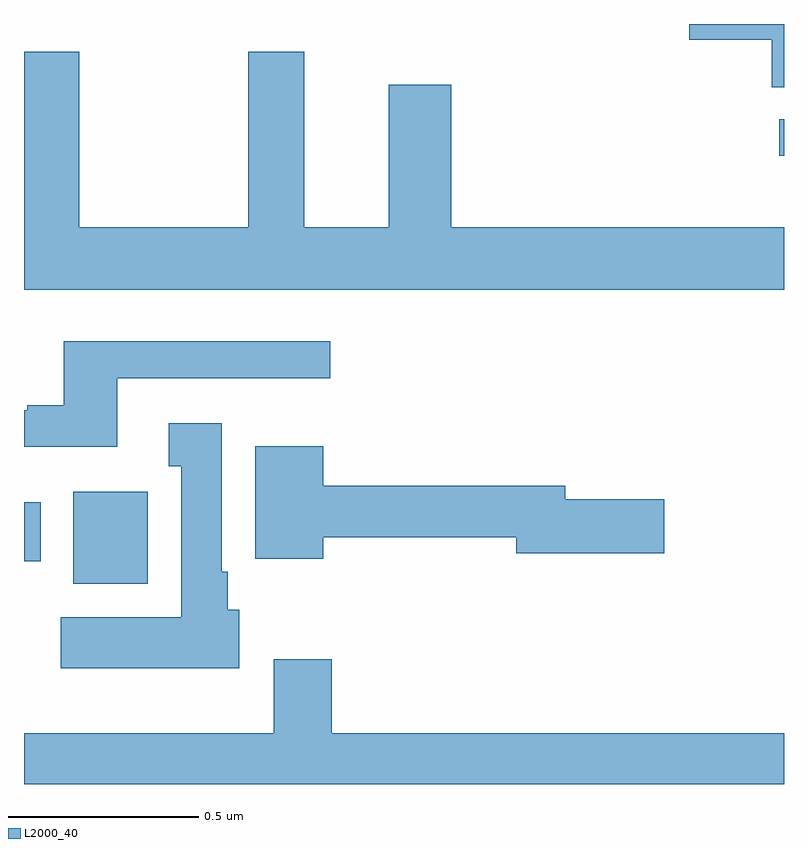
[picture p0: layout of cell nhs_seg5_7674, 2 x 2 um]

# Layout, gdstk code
import gdstk
lib = gdstk.Library(unit=1e-6, precision=1e-09)
def R(c, l, rs):  # rectangles x0, y0, x1, y1
    for r in rs: c.add(gdstk.rectangle(r[:2], r[2:], *l))
def P(c, l, *ps):  # polygons
    for p in ps: c.add(gdstk.Polygon(p, *l))
L2000_40 = (2000, 40)

nhs_seg5_7674 = lib.new_cell('nhs_seg5_7674')
R(nhs_seg5_7674, L2000_40, [(212.129,849.326,212.326,849.568), (212,849.385,212.044,849.541), (213.987,850.452,214,850.548)])
P(nhs_seg5_7674, L2000_40, [(214,850.799),(213.75,850.799),(213.75,850.757),(213.968,850.757),(213.968,850.633),(214,850.633)],
  [(212,850.726),(212,850.1),(214,850.1),(214,850.264),(213.124,850.264),(213.124,850.639),(212.96,850.639),(212.96,850.264),(212.737,850.264),(212.737,850.726),(212.59,850.726),(212.59,850.264),(212.145,850.264),(212.145,850.726)],
  [(212.245,849.867),(212.806,849.867),(212.806,849.964),(212.105,849.964),(212.105,849.796),(212.009,849.796),(212.009,849.783),(212,849.783),(212,849.686),(212.245,849.686)],
  [(212.566,849.258),(212.536,849.258),(212.536,849.358),(212.521,849.358),(212.521,849.748),(212.381,849.748),(212.381,849.635),(212.414,849.635),(212.414,849.238),(212.097,849.238),(212.097,849.104),(212.566,849.104)],
  [(212.788,849.448),(213.296,849.448),(213.296,849.406),(213.685,849.406),(213.685,849.548),(213.424,849.548),(213.424,849.584),(212.788,849.584),(212.788,849.688),(212.609,849.688),(212.609,849.392),(212.788,849.392)],
  [(214,848.932),(212.81,848.932),(212.81,849.127),(212.657,849.127),(212.657,848.932),(212,848.932),(212,848.799),(214,848.799)])

lib.write_gds('nhs_seg5_7674.gds')
